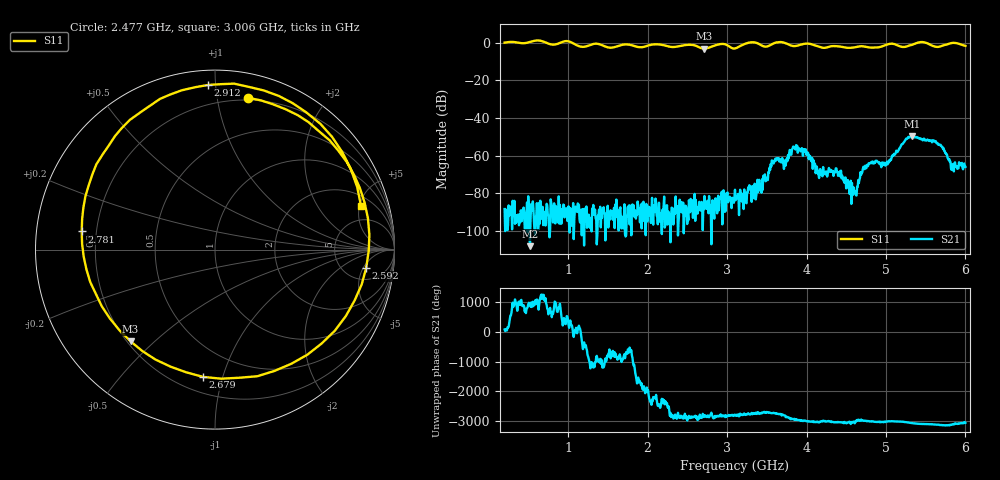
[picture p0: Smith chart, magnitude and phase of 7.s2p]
! NanoVNA-App by OneOfEleven et al v1.1.209 (+OD15)
! Date: 2024-07-30 15:09:53
! Start: 200MHz Stop: 6GHz Points: 801
! S-Parameter data: F S11 S21 S12 S22
# Hz S RI R 50
!  Frequency  S11_Real  S11_Imag  S21_Real  S21_Imag  S12_Real  S12_Imag  S22_Real  S22_Imag
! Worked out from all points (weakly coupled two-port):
!   801 points, 200 MHz to 6 GHz, reference 50 ohm
!   highest |S21| = -49.64 dB at 5.326 GHz (marker M1); lowest = -108.2 dB at 519 MHz (marker M2)
!   lowest |S11| = -3.2 dB at 2.716 GHz (marker M3), VSWR 5.55, Z = 10.7 - j21.1 ohm
!   |S11| at or under -10 dB: nowhere
!   S12 and S22 are empty: the file has one direction only
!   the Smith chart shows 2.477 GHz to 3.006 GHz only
!   S11 on the Smith chart (normalised r, x): 2.477 GHz: 0.18, +1.23; 2.592 GHz: 7.97, -5.78; 2.679 GHz: 0.30, -0.86; 2.781 GHz: 0.14, +0.07; 2.912 GHz: 0.08, +0.96; 3.006 GHz: 2.99, +5.19
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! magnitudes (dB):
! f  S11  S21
! 200 MHz  0.0  -88.5
! 519 MHz  0.4  -108.2
! 1.171 GHz  -2.2  -102.4
! 2.136 GHz  -0.9  -90.3
! 2.477 GHz  -1.3  -86.6
! 2.592 GHz  -1.4  -80.4
! 2.679 GHz  -2.9  -84.7
! 2.716 GHz  -3.2  -81.5
! 2.781 GHz  -2.5  -87.3
! 2.912 GHz  -0.7  -82.7
! 3.006 GHz  -1.4  -79.6
! 3.1 GHz  -3.0  -78.2
! 3.419 GHz  -1.1  -78.3
! 3.579 GHz  -0.5  -63.6
! 3.731 GHz  -0.2  -62.5
! 3.854 GHz  -1.8  -55.8
! 4.072 GHz  -1.0  -61.3
! 4.608 GHz  -2.5  -80.0
! 4.739 GHz  -2.1  -65.4
! 5.036 GHz  -0.7  -63.7
! 5.326 GHz  -1.1  -49.6
! 6 GHz  -1.7  -66.1
